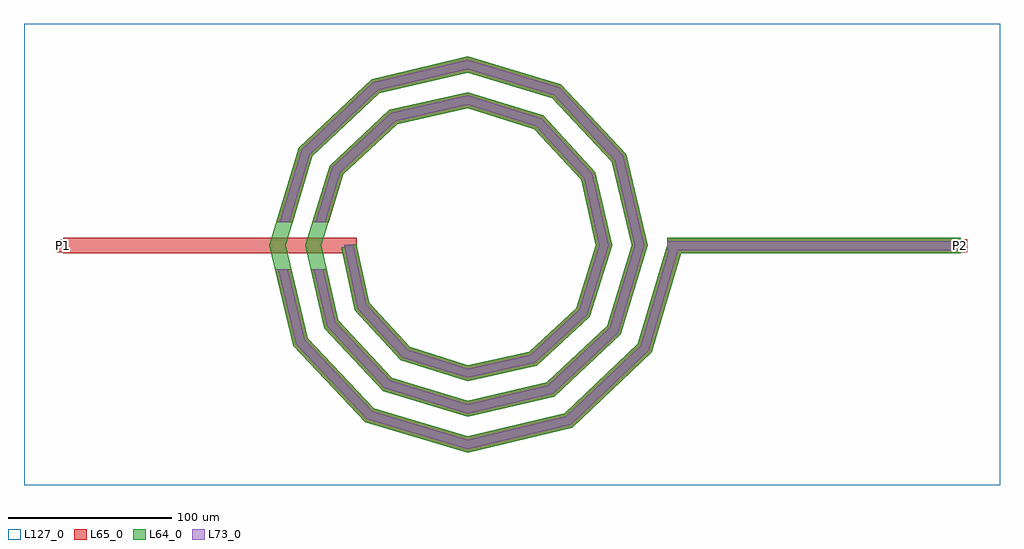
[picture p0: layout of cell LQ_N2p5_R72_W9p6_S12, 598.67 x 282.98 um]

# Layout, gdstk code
import gdstk
lib = gdstk.Library(unit=1e-6, precision=1e-09)
def R(c, l, rs):  # rectangles x0, y0, x1, y1
    for r in rs: c.add(gdstk.rectangle(r[:2], r[2:], *l))
def P(c, l, *ps):  # polygons
    for p in ps: c.add(gdstk.Polygon(p, *l))
L64_0 = (64, 0)
L65_0 = (65, 0)
L73_0 = (73, 0)
L127_0 = (127, 0)

lq_n2p5_r72_w9p6_s12 = lib.new_cell('LQ_N2p5_R72_W9p6_S12')
R(lq_n2p5_r72_w9p6_s12, L64_0, [(122.646,-4.8,302.646,4.8)])
P(lq_n2p5_r72_w9p6_s12, L64_0, [(-60.234,-35.037),(-35.56,-62.033),(0.216,-73.323),(37.754,-64.971),(66.756,-38.304),(78.785,0.201),(69.707,40.473),(41.046,71.479),(0.189,84.246),(-43.194,74.443),(-76.203,43.786),(-89.708,0.178),(-79.178,-45.916),(-46.526,-80.928),(0.169,-95.169),(48.638,-83.913),(85.654,-49.264),(100.631,0.16),(88.647,51.362),(52.002,90.38),(0.152,106.093),(-54.086,93.381),(-95.106,54.74),(-111.555,0.145),(-98.115,-56.811),(-57.476,-99.833),(0.138,-117.017),(59.537,-102.848),(104.56,-60.213),(122.845,1.366),(132.048,-1.366),(113.03,-65.413),(64.268,-111.589),(0.138,-126.952),(-62.687,-108.297),(-106.861,-61.532),(-121.49,0.145),(-103.563,59.962),(-58.795,102.134),(0.152,116.028),(57.237,98.829),(97.408,56.057),(110.565,0.16),(94.094,-54.513),(53.319,-92.682),(0.169,-105.103),(-51.79,-89.359),(-87.956,-50.579),(-99.641,0.178),(-84.624,49.067),(-47.839,83.231),(0.189,94.179),(46.346,79.888),(78.506,45.098),(88.716,0.201),(75.151,-43.626),(42.355,-73.782),(0.216,-83.254),(-40.908,-70.413),(-69.059,-39.61),(-77.515,-1.028),(-68.138,1.028)])
R(lq_n2p5_r72_w9p6_s12, L65_0, [(-248.026,-4.8,-68.026,4.8), (122.646,-4.8,302.646,4.8), (-252.026,-4,-244.026,4), (298.646,-4,306.646,4)])
P(lq_n2p5_r72_w9p6_s12, L65_0, [(-98.115,-56.811),(-57.476,-99.833),(0.138,-117.017),(59.537,-102.848),(104.56,-60.213),(122.845,1.366),(132.048,-1.366),(113.03,-65.413),(64.268,-111.589),(0.138,-126.952),(-62.687,-108.297),(-106.861,-61.532),(-118.04,-14.4),(-108.174,-14.4)],
  [(-79.178,-45.916),(-46.526,-80.928),(0.169,-95.169),(48.638,-83.913),(85.654,-49.265),(100.631,0.16),(88.647,51.362),(52.002,90.38),(0.152,106.093),(-54.086,93.381),(-95.106,54.74),(-107.196,14.4),(-117.218,14.4),(-103.563,59.962),(-58.795,102.134),(0.152,116.028),(57.237,98.829),(97.408,56.057),(110.565,0.16),(94.094,-54.513),(53.319,-92.682),(0.169,-105.103),(-51.79,-89.359),(-87.956,-50.579),(-96.285,-14.4),(-86.434,-14.4)],
  [(-35.56,-62.033),(0.216,-73.323),(37.754,-64.971),(66.756,-38.304),(78.785,0.202),(69.707,40.473),(41.046,71.479),(0.189,84.246),(-43.194,74.443),(-76.203,43.786),(-85.23,14.4),(-95.273,14.4),(-84.624,49.068),(-47.839,83.231),(0.189,94.179),(46.346,79.888),(78.506,45.098),(88.716,0.202),(75.151,-43.626),(42.355,-73.782),(0.216,-83.254),(-40.908,-70.413),(-69.059,-39.61),(-77.515,-1.028),(-68.138,1.028),(-60.234,-35.037)])
R(lq_n2p5_r72_w9p6_s12, L73_0, [(122.646,-2.8,302.646,2.8)])
P(lq_n2p5_r72_w9p6_s12, L73_0, [(-99.937,-57.795),(-58.562,-101.596),(0.081,-119.086),(60.522,-104.669),(106.325,-61.296),(124.762,0.797),(130.13,0.797),(111.265,-64.33),(63.283,-109.768),(0.081,-124.882),(-61.602,-106.533),(-105.039,-60.548),(-115.985,-14.4),(-110.229,-14.4)],
  [(-81.007,-46.887),(-47.623,-82.685),(0.098,-97.239),(49.613,-85.74),(87.412,-50.358),(102.701,0.093),(90.472,52.34),(53.093,92.14),(0.089,108.163),(-55.067,95.205),(-96.868,55.828),(-109.284,14.4),(-115.13,14.4),(-101.801,58.874),(-57.814,100.311),(0.089,113.958),(56.147,97.069),(95.583,55.079),(108.496,0.093),(92.336,-53.42),(52.344,-90.855),(0.098,-103.034),(-50.693,-87.603),(-86.127,-49.608),(-94.233,-14.4),(-88.486,-14.4)],
  [(-36.674,-63.779),(0.126,-75.392),(38.713,-66.807),(68.505,-39.413),(80.854,0.118),(71.541,41.437),(42.15,73.231),(0.11,86.315),(-44.162,76.274),(-77.958,44.887),(-87.322,14.4),(-93.18,14.4),(-82.87,47.967),(-46.871,81.4),(0.11,92.109),(45.242,78.136),(76.673,44.134),(86.647,0.118),(73.402,-42.517),(41.396,-71.946),(0.126,-81.185),(-39.794,-68.667),(-67.22,-38.658),(-75.562,0.599),(-70.091,0.599),(-62.072,-35.99)])
R(lq_n2p5_r72_w9p6_s12, L127_0, [(-272.026,-146.952,326.646,136.028)])
lq_n2p5_r72_w9p6_s12.add(gdstk.Label('P2', (302.646,0), layer=65, texttype=0))
lq_n2p5_r72_w9p6_s12.add(gdstk.Label('P1', (-248.026,0), layer=65, texttype=0))
lq_n2p5_r72_w9p6_s12.add(gdstk.Label('P2', (306.646,0), layer=145, texttype=0))
lq_n2p5_r72_w9p6_s12.add(gdstk.Label('P1', (-252.026,0), layer=145, texttype=0))

lib.write_gds('LQ_N2p5_R72_W9p6_S12.gds')
